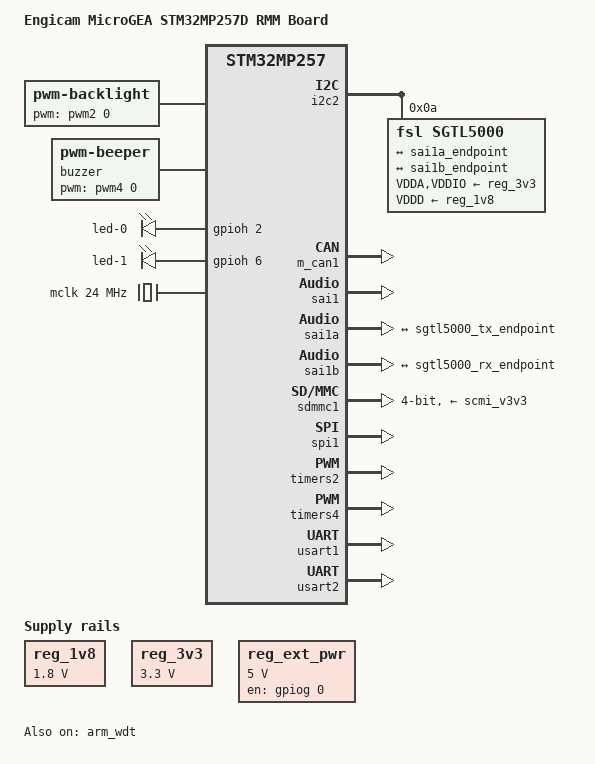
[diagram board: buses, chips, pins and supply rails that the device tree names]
// SPDX-License-Identifier: GPL-2.0
/*
 * Copyright (C) 2026 Amarula Solutions, Dario Binacchi <dario.binacchi@amarulasolutions.com>
 * Copyright (C) 2026 Engicam srl
 */

/dts-v1/;

#include <dt-bindings/gpio/gpio.h>
#include <dt-bindings/input/input.h>
#include <dt-bindings/leds/common.h>

#include "stm32mp257-engicam-microgea.dtsi"

/ {
	model = "Engicam MicroGEA STM32MP257D RMM Board";
	compatible = "engicam,microgea-stm32mp257d-rmm",
		     "engicam,microgea-stm32mp257", "st,stm32mp257";

	aliases {
		mmc0 = &sdmmc1;
		mmc1 = &sdmmc2;
		serial0 = &usart2;
		serial1 = &usart1;
	};

	backlight: backlight {
		compatible = "pwm-backlight";
		brightness-levels = <0 100>;
		num-interpolated-steps = <100>;
		default-brightness-level = <85>;
		pwms = <&pwm2 0 100000 0>;
	};

	buzzer {
		compatible = "pwm-beeper";
		pwms = <&pwm4 0 1000000 0>;
	};

	chosen {
		stdout-path = "serial0:115200n8";
		#address-cells = <2>;
		#size-cells = <2>;
		ranges;

		framebuffer: framebuffer {
			compatible = "simple-framebuffer";
			clocks = <&rcc CK_BUS_LTDC>, <&rcc CK_KER_LTDC>;
			lcd-supply = <&reg_3v3>;
			status = "disabled";
		};
	};

	leds {
		compatible = "gpio-leds";

		led-0 {
			gpios = <&gpioh 2 GPIO_ACTIVE_HIGH>;
			default-state = "off";
			status = "okay";
		};

		led-1 {
			gpios = <&gpioh 6 GPIO_ACTIVE_HIGH>;
			default-state = "off";
			status = "okay";
		};
	};

	mclk: clock-mclk {
		compatible = "fixed-clock";
		#clock-cells = <0>;
		clock-frequency = <24000000>;
	};

	reg_1v8: regulator-1v8 {
		compatible = "regulator-fixed";
		regulator-name = "1v8";
		regulator-min-microvolt = <1800000>;
		regulator-max-microvolt = <1800000>;
	};

	reg_3v3: regulator-3v3 {
		compatible = "regulator-fixed";
		regulator-name = "3v3";
		regulator-min-microvolt = <3300000>;
		regulator-max-microvolt = <3300000>;
	};

	reg_ext_pwr: regulator-ext-pwr {
		compatible = "regulator-fixed";
		regulator-name = "ext-pwr";
		regulator-min-microvolt = <5000000>;
		regulator-max-microvolt = <5000000>;
		gpio = <&gpiog 0 GPIO_ACTIVE_HIGH>;
		enable-active-high;
		regulator-always-on;
	};

	sound {
		compatible = "audio-graph-card";
		label = "STM32MP25-RMM";
		widgets = "Headphone", "Headphone Jack",
			  "Microphone", "Microphone Jack";
		routing = "Headphone Jack", "HP_OUT",
			  "MIC_IN", "Microphone Jack",
			  "Microphone Jack", "Mic Bias";
		dais = <&sai1a_port &sai1b_port>;
		status = "okay";
	};
};

&arm_wdt {
	timeout-sec = <32>;
	status = "okay";
};

&i2c1 {
	/* dt overlays don't support /delete-property/ */
	/delete-property/dmas;
	/delete-property/dma-names;
};

&i2c2 {
	pinctrl-names = "default", "sleep";
	pinctrl-0 = <&i2c2_pins_a>;
	pinctrl-1 = <&i2c2_sleep_pins_a>;
	i2c-scl-rising-time-ns = <185>;
	i2c-scl-falling-time-ns = <20>;
	status = "okay";
	/* spare dmas for other usage */
	/delete-property/dmas;
	/delete-property/dma-names;

	sgtl5000: codec@a {
		compatible = "fsl,sgtl5000";
		reg = <0x0a>;
		#sound-dai-cells = <0>;
		clocks = <&mclk>;

		VDDA-supply = <&reg_3v3>;
		VDDIO-supply = <&reg_3v3>;
		VDDD-supply = <&reg_1v8>;

		sgtl5000_port: port {
			#address-cells = <1>;
			#size-cells = <0>;

			sgtl5000_tx_endpoint: endpoint@0 {
				reg = <0>;
				remote-endpoint = <&sai1a_endpoint>;
				frame-master = <&sgtl5000_tx_endpoint>;
				bitclock-master = <&sgtl5000_tx_endpoint>;
			};

			sgtl5000_rx_endpoint: endpoint@1 {
				reg = <1>;
				remote-endpoint = <&sai1b_endpoint>;
				frame-master = <&sgtl5000_rx_endpoint>;
				bitclock-master = <&sgtl5000_rx_endpoint>;
			};
		};
	};
};

&m_can1 {
	pinctrl-names = "default", "sleep";
	pinctrl-0 = <&m_can1_pins_a>;
	pinctrl-1 = <&m_can1_sleep_pins_a>;
	status = "okay";
};

&sai1 {
	pinctrl-names = "default", "sleep";
	pinctrl-0 = <&sai1a_pins_a>, <&sai1b_pins_a>;
	pinctrl-1 = <&sai1a_sleep_pins_a>, <&sai1b_sleep_pins_a>;
	status = "okay";
};

&sai1a {
	dma-names = "tx";
	status = "okay";

	sai1a_port: port {
		sai1a_endpoint: endpoint {
			remote-endpoint = <&sgtl5000_tx_endpoint>;
			dai-format = "i2s";
			mclk-fs = <512>;
		};
	};
};

&sai1b {
	dma-names = "rx";
	st,sync = <&sai1a 2>;
	clocks = <&rcc CK_KER_SAI1>;
	clock-names = "sai_ck";
	status = "okay";

	sai1b_port: port {
		sai1b_endpoint: endpoint {
			remote-endpoint = <&sgtl5000_rx_endpoint>;
			dai-format = "i2s";
			mclk-fs = <512>;
		};
	};
};

/* MicroSD */
&sdmmc1 {
	pinctrl-names = "default", "opendrain", "sleep";
	pinctrl-0 = <&sdmmc1_b4_pins_a>;
	pinctrl-1 = <&sdmmc1_b4_od_pins_a>;
	pinctrl-2 = <&sdmmc1_b4_sleep_pins_a>;
	broken-cd;
	disable-wp;
	st,neg-edge;
	bus-width = <4>;
	vmmc-supply = <&scmi_v3v3>;
	vqmmc-supply = <&scmi_vddio1>;
	no-1-8-v;
	status = "okay";
};

&spi1 {
	pinctrl-names = "default", "sleep";
	pinctrl-0 = <&spi1_pins_a>;
	pinctrl-1 = <&spi1_sleep_pins_a>;
	#address-cells = <1>;
	#size-cells = <0>;
	cs-gpios = <&gpioh 8 GPIO_ACTIVE_LOW>, <&gpioh 3 GPIO_ACTIVE_HIGH>;
	status = "okay";
};

&timers2 {
	status = "okay";

	pwm2: pwm {
		pinctrl-0 = <&pwm2_pins_a>;
		pinctrl-1 = <&pwm2_sleep_pins_a>;
		pinctrl-names = "default", "sleep";
		status = "okay";
	};
};

&timers4 {
	status = "okay";

	pwm4: pwm {
		pinctrl-names = "default", "sleep";
		pinctrl-0 = <&pwm4_pins_a>;
		pinctrl-1 = <&pwm4_sleep_pins_a>;
		status = "okay";
	};
};

&usart1 {
	pinctrl-names = "default", "idle", "sleep";
	pinctrl-0 = <&usart1_pins_b>;
	pinctrl-1 = <&usart1_idle_pins_b>;
	pinctrl-2 = <&usart1_sleep_pins_b>;
	/delete-property/ dmas;
	/delete-property/ dma-names;
	status = "okay";
};

&usart2 {
	pinctrl-names = "default", "idle", "sleep";
	pinctrl-0 = <&usart2_pins_a>;
	pinctrl-1 = <&usart2_idle_pins_a>;
	pinctrl-2 = <&usart2_sleep_pins_a>;
	/delete-property/ dmas;
	/delete-property/ dma-names;
	status = "okay";
};
